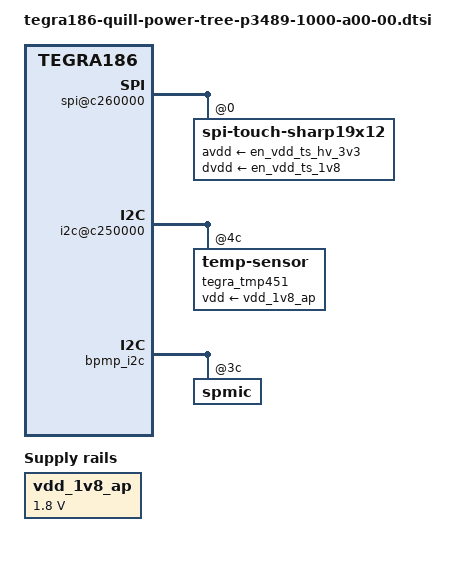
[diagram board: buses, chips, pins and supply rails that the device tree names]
/*
 * Copyright (c) 2015-2018, NVIDIA CORPORATION.  All rights reserved.
 *
 * This program is free software; you can redistribute it and/or modify
 * it under the terms of the GNU General Public License as published by
 * the Free Software Foundation; either version 2 of the License, or
 * (at your option) any later version.
 *
 * This program is distributed in the hope that it will be useful, but WITHOUT
 * ANY WARRANTY; without even the implied warranty of MERCHANTABILITY or
 * FITNESS FOR A PARTICULAR PURPOSE.  See the GNU General Public License for
 * more details.
 *
 */

#include "tegra186-quill-spmic-p3489-1000-a00-00.dtsi"
#include "tegra186-cvb-prod-p2597-b00-p3489-1000-a00-00.dtsi"

/ {

	fixed-regulators {
		vdd_1v8_ap: regulator@101 {
			compatible = "regulator-fixed";
			reg = <101>;
			regulator-name = "vdd-1v8-ap";
			regulator-min-microvolt = <1800000>;
			regulator-max-microvolt = <1800000>;
			regulator-always-on;
			regulator-boot-on;
		};
	};


	ether_qos@2490000 {
		vddio_sys_enet_bias-supply = <&spmic_sd2>;
		vddio_enet-supply = <&spmic_sd3>;
		phy_vdd_1v8-supply = <&spmic_sd2>;
		phy_ovdd_rgmii-supply = <&spmic_sd3>;
		phy_pllvdd-supply = <&spmic_sd1>;
	};

	host1x {
		nvdisplay@15200000 {
			avdd_lcd-supply = <&en_avdd_disp_3v3>;
			dvdd_lcd-supply = <&en_vdd_disp_1v8>;
			avdd_dsi_csi-supply = <&spmic_sd1>;
			outp-supply = <&vpp_lcd>;
			outn-supply = <&vmm_lcd>;
			vdd_lcd_bl-supply = <&battery_reg>;
			vdd_lcd_bl_en-supply = <&vdd_bl_en>;
			/* added hdmi for testing in head 0 */
			avdd_hdmi-supply = <&spmic_ldo7>;
			avdd_hdmi_pll-supply = <&spmic_sd2>;
			vdd_hdmi_5v0-supply = <&vdd_hdmi>;
		};
		nvdisplay@15210000 {
			avdd_hdmi-supply = <&spmic_ldo7>;
			avdd_hdmi_pll-supply = <&spmic_sd2>;
			vdd_hdmi_5v0-supply = <&vdd_hdmi>;
		};
		nvdisplay@15220000 {
			vdd-dp-pwr-supply = <&battery_reg>;
			avdd-dp-pll-supply = <&battery_reg>;
			vdd-edp-sec-mode-supply = <&battery_reg>;
			vdd-dp-pad-supply = <&battery_reg>;
			vdd_hdmi_5v0-supply = <&battery_reg>;
		};
		vi@15700000 {
			avdd_dsi_csi-supply = <&spmic_sd1>;
		};
		nvcsi@150c0000 {
			nvidia,csi_regulator = "avdd_dsi_csi";
		};
	};

	sdhci@3460000 {
		vqmmc-supply = <&spmic_sd2>;
		vmmc-supply = <&spmic_sd3>;
	};

	sdhci@3440000 {
		vqmmc-supply = <&spmic_ldo5>;
		vmmc-supply = <&spmic_sd2>;
	};

	sdhci@3420000 {
		vqmmc-supply = <&spmic_sd2>;
		vmmc-supply = <&spmic_sd3>;
	};

	sdhci@3400000 {
		vqmmc-supply = <&spmic_ldo3>;
		vmmc-supply = <&en_vdd_sdcard1>;
	};

	xhci@3530000 {
		avddio_usb-supply = <&spmic_sd3>;
		avdd_pll_utmip-supply = <&spmic_sd2>;
		hvdd_usb-supply =  <&spmic_sd2>;
	};

	xudc@3550000 {
		avdd-usb-supply = <&spmic_sd3>;
	};

	pinctrl@3520000 {
		vbus-0-supply = <&vdd_usb0_5v>;
		vbus-1-supply = <&vdd_usb1_5v>;
		vbus-2-supply = <&vdd_usb2_5v>;
		vbus-3-supply = <&battery_reg>;
		vddio-hsic-supply = <&battery_reg>;
		avdd_usb-supply = <&spmic_sd3>;
		vclamp_usb-supply = <&spmic_sd2>;
		avdd_pll_erefeut-supply = <&spmic_sd2>;
	};

	xusb_padctl@3520000 {
		avdd_usb-supply = <&spmic_sd3>;
		vclamp_usb-supply = <&spmic_sd2>;
		avdd_pll_erefeut-supply = <&spmic_sd2>;
	};

	spi@c260000 {
		spi-touch-sharp19x12@0 {
			avdd-supply = <&en_vdd_ts_hv_3v3>;
			dvdd-supply = <&en_vdd_ts_1v8>;
		};
	};

	pcie-controller@10003000 {
		dvdd-pex-supply = <&spmic_ldo8>;
		hvdd-pex-pll-supply = <&spmic_sd2>;
		hvdd-pex-supply = <&spmic_sd2>;
		vddio-pexctl-aud-supply = <&spmic_sd2>;
	};

	pmc-iopower {
		vddio-sys-supply = <&vdd_1v8_ap>;
		vddio-uart-supply = <&vdd_1v8_ap>;
		vddio-conn-supply = <&vdd_1v8_ap>;
		vddio-edp-supply = <&vdd_1v8_ap>;
		vddio-pex-ctrl-supply = <&vdd_1v8_ap>;
		vddio-audio-supply = <&vdd_1v8_ap>;
		vddio-ufs-supply = <&vdd_1v8_ap>;
		vddio-ddr0-supply = <&spmic_sd0>;
		vddio-ddr1-supply = <&spmic_sd0>;
		vddio-mipi-bias-supply = <&spmic_sd1>;
		vddio-cam-supply = <&vdd_1v8_ap>;
		vddio-sdmmc4-supply = <&vdd_1v8_ap>;
		vddio-sdmmc1-hv-supply = <&spmic_ldo3>;
		vddio-audio-hv-supply = <&vdd_1v8_ap>;
		vddio-dbg-supply = <&vdd_1v8_ap>;
		vddio-spi-supply = <&vdd_1v8_ap>;
		vddio-ao-supply = <&vdd_1v8_ap>;
		vddio-ao-hv-supply = <&spmic_ldo2>;
		vddio-dmic-hv-supply =  <&vdd_1v8_ap>;
		vddio-sdmmc2-hv-supply = <&spmic_sd3>;
		vddio-sdmmc3-hv-supply =  <&spmic_ldo5>;
	};

	i2c@c250000 {
		tegra_tmp451: temp-sensor@4c {
			vdd-supply = <&vdd_1v8_ap>;
		};
	};

	pwm-fan {
		vdd-fan-supply = <&vdd_fan>;
	};

	bluedroid_pm {
		avdd-supply = <&battery_reg>;
		dvdd-supply = <&spmic_sd2>;
	};

	bpmp_i2c {
		spmic@3c {
			pinmux@0 {

				pin_gpio1 {
					maxim,active-fps-power-up-slot = <1>;
					maxim,active-fps-power-down-slot = <3>;
				};

				pin_gpio2 {
					maxim,active-fps-power-up-slot = <7>;
					maxim,active-fps-power-down-slot = <1>;
				};

				pin_gpio3 {
					maxim,active-fps-power-up-slot = <1>;
					maxim,active-fps-power-down-slot = <7>;
				};
			};

			regulators {
				sd0 {
					maxim,active-fps-source = <MAX77620_FPS_SRC_0>;
					maxim,active-fps-power-up-slot = <5>;
					maxim,active-fps-power-down-slot = <2>;
					regulator-enable-ramp-delay = <278>;
					regulator-disable-ramp-delay = <153000>;
					maxim,ramp-rate-setting = <27500>;
					regulator-ramp-delay = <3930>;
				};

				sd1 {
					maxim,active-fps-source = <MAX77620_FPS_SRC_1>;
					maxim,active-fps-power-up-slot = <3>;
					maxim,active-fps-power-down-slot = <1>;
					regulator-enable-ramp-delay = <211>;
					regulator-disable-ramp-delay = <40000>;
					maxim,ramp-rate-setting = <27500>;
					regulator-ramp-delay = <5500>;
				};

				sd2 {
					maxim,active-fps-source = <MAX77620_FPS_SRC_0>;
					maxim,active-fps-power-up-slot = <0>;
					maxim,active-fps-power-down-slot = <7>;
					regulator-enable-ramp-delay = <4000>;
					regulator-disable-ramp-delay = <21000>;
					maxim,ramp-rate-setting = <27500>;
					regulator-ramp-delay = <450>;
				};

				sd3 {
					maxim,active-fps-source = <MAX77620_FPS_SRC_0>;
					maxim,active-fps-power-up-slot = <6>;
					maxim,active-fps-power-down-slot = <1>;
					regulator-enable-ramp-delay = <574>;
					regulator-disable-ramp-delay = <40000>;
					maxim,ramp-rate-setting = <27500>;
					regulator-ramp-delay = <5500>;
				};

				ldo1 {
					maxim,ramp-rate-setting = <100000>;
					regulator-ramp-delay = <100000>;
				};

				ldo2 {
					maxim,active-fps-source = <MAX77620_FPS_SRC_0>;
					maxim,active-fps-power-up-slot = <6>;
					maxim,active-fps-power-down-slot = <1>;
					regulator-enable-ramp-delay = <152>;
					regulator-disable-ramp-delay = <14000>;
					maxim,ramp-rate-setting = <100000>;
					regulator-ramp-delay = <20000>;
				};

				ldo3 {
					maxim,active-fps-source = <MAX77620_FPS_SRC_NONE>;
					maxim,active-fps-power-up-slot = <0>;
					maxim,active-fps-power-down-slot = <7>;
					regulator-enable-ramp-delay = <160>;
					regulator-disable-ramp-delay = <16000>;
					maxim,ramp-rate-setting = <5000>;
					regulator-ramp-delay = <1000>;
				};

				ldo4 {
					maxim,active-fps-source = <MAX77620_FPS_SRC_0>;
					maxim,active-fps-power-up-slot = <1>;
					maxim,active-fps-power-down-slot = <7>;
					regulator-enable-ramp-delay = <26>;
					regulator-disable-ramp-delay = <1650>;
					maxim,ramp-rate-setting = <100000>;
					regulator-ramp-delay = <33000>;
				};

				ldo5 {
					maxim,active-fps-power-up-slot = <0>;
					maxim,active-fps-power-down-slot = <7>;
					regulator-enable-ramp-delay = <309>;
					regulator-disable-ramp-delay = <16000>;
					maxim,ramp-rate-setting = <5000>;
					regulator-ramp-delay = <526>;
				};

				ldo6 {
					maxim,ramp-rate-setting = <100000>;
					regulator-ramp-delay = <100000>;
				};

				ldo7 {
					maxim,active-fps-source = <MAX77620_FPS_SRC_1>;
					maxim,active-fps-power-up-slot = <4>;
					maxim,active-fps-power-down-slot = <1>;
					regulator-enable-ramp-delay = <95>;
					regulator-disable-ramp-delay = <15000>;
					maxim,ramp-rate-setting = <100000>;
					regulator-ramp-delay = <10000>;
				};

			};
		};
	};

	fixed-regulators {
		regulator@1 {
			regulator-enable-ramp-delay = <1120>;
			regulator-disable-ramp-delay = <16500>;
		};

		regulator@2 {
			regulator-enable-ramp-delay = <108>;
			regulator-disable-ramp-delay = <1200>;
		};

		regulator@3 {
			regulator-enable-ramp-delay = <745>;
			regulator-disable-ramp-delay = <74000>;
		};

		regulator@4 {
			regulator-enable-ramp-delay = <945>;
			regulator-disable-ramp-delay = <2650>;
		};

		regulator@5 {
			regulator-enable-ramp-delay = <800>;
			regulator-disable-ramp-delay = <13000>;
		};

		regulator@6 {
			regulator-enable-ramp-delay = <173>;
			regulator-disable-ramp-delay = <13000>;
		};

		regulator@7 {
			regulator-enable-ramp-delay = <245>;
			regulator-disable-ramp-delay = <43000>;
		};

		regulator@8 {
			regulator-enable-ramp-delay = <216>;
			regulator-disable-ramp-delay = <43000>;
		};

		regulator@10 {
			regulator-enable-ramp-delay = <178>;
			regulator-disable-ramp-delay = <10000>;
		};

		regulator@11 {
			regulator-enable-ramp-delay = <5000>;
			regulator-disable-ramp-delay = <87000>;
		};
	};
};
